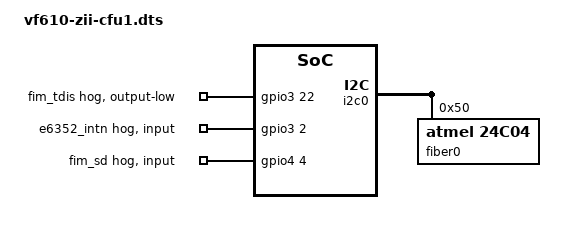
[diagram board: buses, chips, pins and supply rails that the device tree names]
// SPDX-License-Identifier: (GPL-2.0 OR MIT)

/*
 * Copyright (C) 2015, 2016 Zodiac Inflight Innovations
 */

#include <arm/vf610-zii-cfu1.dts>

#include "vf610-zii-dev.dtsi"

/ {
	aliases {
		/*
		 * NVMEM device corresponding to EEPROM attached to
		 * the switch shared DT node with it, so we use that
		 * fact to create a desirable naming
		 */
		switch-eeprom = &switch0;
		fiber-eeprom0 = &fiber_eeprom0;
	};

	gpio-leds {
		led-status {
			linux,default-trigger = "heartbeat";
		};
	};
};

&i2c0 {
	fiber_eeprom0: eeprom@50 {
		compatible = "atmel,24c04";
		reg = <0x50>;
		label = "fiber0";
	};
};

&gpio3 {
	fim-tdis {
		gpio-hog;
		gpios = <22 GPIO_ACTIVE_HIGH>;
		output-low;
		line-name = "fim_tdis";
	};

	e6352-intn {
		gpio-hog;
		gpios = <2 GPIO_ACTIVE_HIGH>;
		input;
		line-name = "e6352_intn";
	};
};

&gpio4 {
	fim-sd {
		gpio-hog;
		gpios = <4 GPIO_ACTIVE_HIGH>;
		input;
		line-name = "fim_sd";
	};
};

